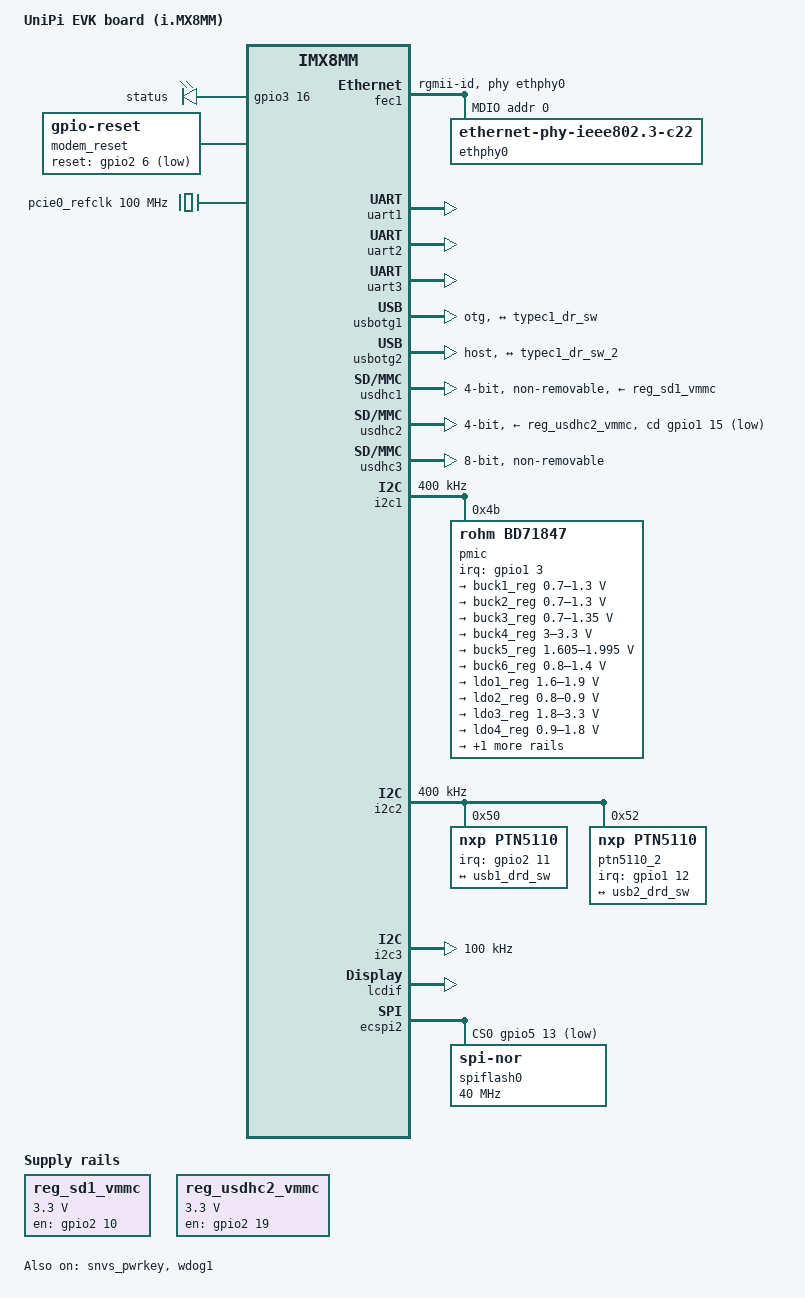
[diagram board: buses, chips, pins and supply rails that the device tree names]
// SPDX-License-Identifier: (GPL-2.0+ OR MIT)
/*
 * Copyright 2019 NXP
 */

/dts-v1/;

#include <dt-bindings/usb/pd.h>
#include "imx8mm.dtsi"

/ {
	model = "UniPi EVK board (i.MX8MM)";
	compatible = "fsl,imx8mm-evk", "fsl,imx8mm";

	reserved-memory {
		#address-cells = <2>;
		#size-cells = <2>;
		ranges;

		rpmsg_reserved: rpmsg@0xb8000000 {
			no-map;
			reg = <0 0xb8000000 0 0x400000>;
		};
	};

	chosen {
		stdout-path = &uart2;
	};

	leds {
		compatible = "gpio-leds";
		pinctrl-names = "default";
		pinctrl-0 = <&pinctrl_gpio_led>;

		status {
			label = "status";
			gpios = <&gpio3 16 GPIO_ACTIVE_HIGH>;
			default-state = "on";
		};
	};

	modem_reset: modem-reset {
		compatible = "gpio-reset";
		reset-gpios = <&gpio2 6 GPIO_ACTIVE_LOW>;
		reset-delay-us = <2000>;
		reset-post-delay-ms = <40>;
		#reset-cells = <0>;
	};

	pcie0_refclk: pcie0-refclk {
		compatible = "fixed-clock";
		#clock-cells = <0>;
		clock-frequency = <100000000>;
	};

	reg_sd1_vmmc: sd1_regulator {
		compatible = "regulator-fixed";
		regulator-name = "WLAN_EN";
		regulator-min-microvolt = <3300000>;
		regulator-max-microvolt = <3300000>;
		gpio = <&gpio2 10 GPIO_ACTIVE_HIGH>;
		off-on-delay-us = <20000>;
		startup-delay-us = <100>;
		enable-active-high;
	};

	reg_usdhc2_vmmc: regulator-usdhc2 {
		compatible = "regulator-fixed";
		pinctrl-names = "default";
		pinctrl-0 = <&pinctrl_reg_usdhc2_vmmc>;
		regulator-name = "VSD_3V3";
		regulator-min-microvolt = <3300000>;
		regulator-max-microvolt = <3300000>;
		gpio = <&gpio2 19 GPIO_ACTIVE_HIGH>;
		off-on-delay-us = <20000>;
		enable-active-high;
	};

};

&A53_0 {
	cpu-supply = <&buck2_reg>;
};

&fec1 {
	pinctrl-names = "default";
	pinctrl-0 = <&pinctrl_fec1>;
	phy-mode = "rgmii-id";
	phy-handle = <&ethphy0>;
	fsl,magic-packet;
	status = "okay";

	mdio {
		#address-cells = <1>;
		#size-cells = <0>;

		ethphy0: ethernet-phy@0 {
			compatible = "ethernet-phy-ieee802.3-c22";
			reg = <0>;
			at803x,eee-disabled;
			at803x,vddio-1p8v;
		};
	};
};

&pcie0{
	pinctrl-names = "default";
	pinctrl-0 = <&pinctrl_pcie0>;
	disable-gpio = <&gpio1 5 GPIO_ACTIVE_LOW>;
	reset-gpio = <&gpio4 21 GPIO_ACTIVE_LOW>;
	clocks = <&clk IMX8MM_CLK_PCIE1_ROOT>,
		 <&clk IMX8MM_CLK_PCIE1_AUX>,
		 <&clk IMX8MM_CLK_PCIE1_PHY>,
		 <&pcie0_refclk>;
	clock-names = "pcie", "pcie_aux", "pcie_phy", "pcie_bus";
	ext_osc = <1>;
	reserved-region = <&rpmsg_reserved>;
	status = "disabled";
};

&snvs_pwrkey {
	status = "okay";
};

&uart1 { /* BT */
	pinctrl-names = "default";
	pinctrl-0 = <&pinctrl_uart1>;
	assigned-clocks = <&clk IMX8MM_CLK_UART1>;
	assigned-clock-parents = <&clk IMX8MM_SYS_PLL1_80M>;
	fsl,uart-has-rtscts;
	resets = <&modem_reset>;
	status = "okay";
};

&uart2 { /* console */
	pinctrl-names = "default";
	pinctrl-0 = <&pinctrl_uart2>;
	status = "okay";
};

&uart3 {
	pinctrl-names = "default";
	pinctrl-0 = <&pinctrl_uart3>;
	assigned-clocks = <&clk IMX8MM_CLK_UART3>;
	assigned-clock-parents = <&clk IMX8MM_SYS_PLL1_80M>;
	fsl,uart-has-rtscts;
    linux,rs485-enabled-at-boot-time;
	status = "okay";
};

&usbotg1 {
	dr_mode = "otg";
	hnp-disable;
	srp-disable;
	adp-disable;
	usb-role-switch;
	picophy,pre-emp-curr-control = <3>;
	picophy,dc-vol-level-adjust = <7>;
	status = "okay";

	port {
		usb1_drd_sw: endpoint {
			remote-endpoint = <&typec1_dr_sw>;
		};
	};
};

&usbotg2 {
	dr_mode = "host";
	hnp-disable;
	srp-disable;
	adp-disable;
	usb-role-switch;
	picophy,pre-emp-curr-control = <3>;
	picophy,dc-vol-level-adjust = <7>;
	status = "okay";

	port {
		usb2_drd_sw: endpoint {
			remote-endpoint = <&typec1_dr_sw_2>;
		};
	};
};

&usdhc1 {
	pinctrl-names = "default", "state_100mhz", "state_200mhz";
	pinctrl-0 = <&pinctrl_usdhc1>, <&pinctrl_usdhc1_gpio>;
	pinctrl-1 = <&pinctrl_usdhc1_100mhz>, <&pinctrl_usdhc1_gpio>;
	pinctrl-2 = <&pinctrl_usdhc1_200mhz>, <&pinctrl_usdhc1_gpio>;
	bus-width = <4>;
	vmmc-supply = <&reg_sd1_vmmc>;
	pm-ignore-notify;
	keep-power-in-suspend;
	non-removable;
	status = "okay";
};

&usdhc2 {
	pinctrl-names = "default", "state_100mhz", "state_200mhz";
	pinctrl-0 = <&pinctrl_usdhc2>, <&pinctrl_usdhc2_gpio>;
	pinctrl-1 = <&pinctrl_usdhc2_100mhz>, <&pinctrl_usdhc2_gpio>;
	pinctrl-2 = <&pinctrl_usdhc2_200mhz>, <&pinctrl_usdhc2_gpio>;
	cd-gpios = <&gpio1 15 GPIO_ACTIVE_LOW>;
	bus-width = <4>;
	vmmc-supply = <&reg_usdhc2_vmmc>;
	status = "okay";
};

&usdhc3 {
	pinctrl-names = "default", "state_100mhz", "state_200mhz";
	pinctrl-0 = <&pinctrl_usdhc3>;
	pinctrl-1 = <&pinctrl_usdhc3_100mhz>;
	pinctrl-2 = <&pinctrl_usdhc3_200mhz>;
	bus-width = <8>;
	non-removable;
	status = "okay";
};

&wdog1 {
	pinctrl-names = "default";
	pinctrl-0 = <&pinctrl_wdog>;
	fsl,ext-reset-output;
	status = "okay";
};

/*
&flexspi {
	pinctrl-names = "default";
	pinctrl-0 = <&pinctrl_flexspi0>;
	status = "okay";

	flash0: mt25qu256aba@0 {
		reg = <0>;
		#address-cells = <1>;
		#size-cells = <1>;
		compatible = "jedec,spi-nor";
		spi-max-frequency = <80000000>;
		spi-tx-bus-width = <4>;
		spi-rx-bus-width = <4>;
	};
};
*/

&i2c1 {
	clock-frequency = <400000>;
	pinctrl-names = "default";
	pinctrl-0 = <&pinctrl_i2c1>;
	status = "okay";

	pmic@4b {
		compatible = "rohm,bd71847";
		reg = <0x4b>;
		pinctrl-0 = <&pinctrl_pmic>;
		interrupt-parent = <&gpio1>;
		interrupts = <3 GPIO_ACTIVE_LOW>;
		rohm,reset-snvs-powered;

		regulators {
			buck1_reg: BUCK1 {
				regulator-name = "BUCK1";
				regulator-min-microvolt = <700000>;
				regulator-max-microvolt = <1300000>;
				regulator-boot-on;
				regulator-always-on;
				regulator-ramp-delay = <1250>;
			};

			buck2_reg: BUCK2 {
				regulator-name = "BUCK2";
				regulator-min-microvolt = <700000>;
				regulator-max-microvolt = <1300000>;
				regulator-boot-on;
				regulator-always-on;
				regulator-ramp-delay = <1250>;
				rohm,dvs-run-voltage = <1000000>;
				rohm,dvs-idle-voltage = <900000>;
			};

			buck3_reg: BUCK3 {
				// BUCK5 in datasheet
				regulator-name = "BUCK3";
				regulator-min-microvolt = <700000>;
				regulator-max-microvolt = <1350000>;
				regulator-boot-on;
				regulator-always-on;
			};

			buck4_reg: BUCK4 {
				// BUCK6 in datasheet
				regulator-name = "BUCK4";
				regulator-min-microvolt = <3000000>;
				regulator-max-microvolt = <3300000>;
				regulator-boot-on;
				regulator-always-on;
			};

			buck5_reg: BUCK5 {
				// BUCK7 in datasheet
				regulator-name = "BUCK5";
				regulator-min-microvolt = <1605000>;
				regulator-max-microvolt = <1995000>;
				regulator-boot-on;
				regulator-always-on;
			};

			buck6_reg: BUCK6 {
				// BUCK8 in datasheet
				regulator-name = "BUCK6";
				regulator-min-microvolt = <800000>;
				regulator-max-microvolt = <1400000>;
				regulator-boot-on;
				regulator-always-on;
			};

			ldo1_reg: LDO1 {
				regulator-name = "LDO1";
				regulator-min-microvolt = <1600000>;
				regulator-max-microvolt = <1900000>;
				regulator-boot-on;
				regulator-always-on;
			};

			ldo2_reg: LDO2 {
				regulator-name = "LDO2";
				regulator-min-microvolt = <800000>;
				regulator-max-microvolt = <900000>;
				regulator-boot-on;
				regulator-always-on;
			};

			ldo3_reg: LDO3 {
				regulator-name = "LDO3";
				regulator-min-microvolt = <1800000>;
				regulator-max-microvolt = <3300000>;
				regulator-boot-on;
				regulator-always-on;
			};

			ldo4_reg: LDO4 {
				regulator-name = "LDO4";
				regulator-min-microvolt = <900000>;
				regulator-max-microvolt = <1800000>;
				regulator-boot-on;
				regulator-always-on;
			};

			ldo6_reg: LDO6 {
				regulator-name = "LDO6";
				regulator-min-microvolt = <900000>;
				regulator-max-microvolt = <1800000>;
				regulator-boot-on;
				regulator-always-on;
			};
		};
	};
};

&i2c2 {
	clock-frequency = <400000>;
	pinctrl-names = "default";
	pinctrl-0 = <&pinctrl_i2c2>;
	status = "okay";

	ptn5110: tcpc@50 {
		compatible = "nxp,ptn5110";
		pinctrl-names = "default";
		pinctrl-0 = <&pinctrl_typec1>;
		reg = <0x50>;
		interrupt-parent = <&gpio2>;
		interrupts = <11 8>;
		status = "okay";

		port {
			typec1_dr_sw: endpoint {
				remote-endpoint = <&usb1_drd_sw>;
			};
		};

		typec1_con: connector {
			compatible = "usb-c-connector";
			label = "USB-C";
			power-role = "dual";
			data-role = "dual";
			try-power-role = "sink";
			source-pdos = <PDO_FIXED(5000, 3000, PDO_FIXED_USB_COMM)>;
			sink-pdos = <PDO_FIXED(5000, 3000, PDO_FIXED_USB_COMM)
				     PDO_VAR(5000, 20000, 3000)>;
			op-sink-microwatt = <15000000>;
			self-powered;

			ports {
				#address-cells = <1>;
				#size-cells = <0>;

				port@1 {
					reg = <1>;
					/*typec_con_ss: endpoint {
						remote-endpoint = <&usb3_data_ss>;
					};*/
				};
			};
		};
	};

	ptn5110_2: tcpc@52 {
		compatible = "nxp,ptn5110";
		pinctrl-names = "default";
		pinctrl-0 = <&pinctrl_typec1_2>;
		reg = <0x52>;
		interrupt-parent = <&gpio1>;
		interrupts = <12 8>;
		status = "okay";

		port {
			typec1_dr_sw_2: endpoint {
				remote-endpoint = <&usb2_drd_sw>;
			};
		};

		typec1_con_2: connector {
			compatible = "usb-c-connector";
			label = "USB-C";
			power-role = "dual";
			data-role = "dual";
			try-power-role = "sink";
			source-pdos = <PDO_FIXED(5000, 3000, PDO_FIXED_USB_COMM)>;
			sink-pdos = <PDO_FIXED(5000, 3000, PDO_FIXED_USB_COMM)
				     PDO_VAR(5000, 20000, 3000)>;
			op-sink-microwatt = <15000000>;
			self-powered;

			ports {
				#address-cells = <1>;
				#size-cells = <0>;

				port@1 {
					reg = <1>;
					/*typec_con_ss: endpoint {
						remote-endpoint = <&usb3_data_ss>;
					};*/
				};
			};
		};
	};

};

&i2c3 {
	clock-frequency = <100000>;
	pinctrl-names = "default";
	pinctrl-0 = <&pinctrl_i2c3>;
	status = "okay";

};

&iomuxc {
	pinctrl-names = "default";

	pinctrl_csi_pwn: csi_pwn_grp {
		fsl,pins = <
			MX8MM_IOMUXC_GPIO1_IO07_GPIO1_IO7		0x19
		>;
	};

	pinctrl_csi_rst: csi_rst_grp {
		fsl,pins = <
			MX8MM_IOMUXC_GPIO1_IO06_GPIO1_IO6		0x19
			MX8MM_IOMUXC_GPIO1_IO14_CCMSRCGPCMIX_CLKO1	0x59
		>;
	};

	pinctrl_fec1: fec1grp {
		fsl,pins = <
			MX8MM_IOMUXC_ENET_MDC_ENET1_MDC			0x3
			MX8MM_IOMUXC_ENET_MDIO_ENET1_MDIO		0x3
			MX8MM_IOMUXC_ENET_TD3_ENET1_RGMII_TD3		0x1f
			MX8MM_IOMUXC_ENET_TD2_ENET1_RGMII_TD2		0x1f
			MX8MM_IOMUXC_ENET_TD1_ENET1_RGMII_TD1		0x1f
			MX8MM_IOMUXC_ENET_TD0_ENET1_RGMII_TD0		0x1f
			MX8MM_IOMUXC_ENET_RD3_ENET1_RGMII_RD3		0x91
			MX8MM_IOMUXC_ENET_RD2_ENET1_RGMII_RD2		0x91
			MX8MM_IOMUXC_ENET_RD1_ENET1_RGMII_RD1		0x91
			MX8MM_IOMUXC_ENET_RD0_ENET1_RGMII_RD0		0x91
			MX8MM_IOMUXC_ENET_TXC_ENET1_RGMII_TXC		0x1f
			MX8MM_IOMUXC_ENET_RXC_ENET1_RGMII_RXC		0x91
			MX8MM_IOMUXC_ENET_RX_CTL_ENET1_RGMII_RX_CTL	0x91
			MX8MM_IOMUXC_ENET_TX_CTL_ENET1_RGMII_TX_CTL	0x1f
			MX8MM_IOMUXC_SAI2_RXC_GPIO4_IO22		0x19
		>;
	};

/*	pinctrl_flexspi0: flexspi0grp {
		fsl,pins = <
			MX8MM_IOMUXC_NAND_ALE_QSPI_A_SCLK               0x1c2
			MX8MM_IOMUXC_NAND_CE0_B_QSPI_A_SS0_B            0x82
			MX8MM_IOMUXC_NAND_DATA00_QSPI_A_DATA0           0x82
			MX8MM_IOMUXC_NAND_DATA01_QSPI_A_DATA1           0x82
			MX8MM_IOMUXC_NAND_DATA02_QSPI_A_DATA2           0x82
			MX8MM_IOMUXC_NAND_DATA03_QSPI_A_DATA3           0x82
		>;
	};
*/
	pinctrl_gpio_led: gpioledgrp {
		fsl,pins = <
			MX8MM_IOMUXC_NAND_READY_B_GPIO3_IO16	0x19
		>;
	};

	pinctrl_gpio_wlf: gpiowlfgrp {
		fsl,pins = <
			MX8MM_IOMUXC_I2C4_SDA_GPIO5_IO21	0xd6
		>;
	};

	pinctrl_i2c1: i2c1grp {
		fsl,pins = <
			MX8MM_IOMUXC_I2C1_SCL_I2C1_SCL			0x400001c3
			MX8MM_IOMUXC_I2C1_SDA_I2C1_SDA			0x400001c3
		>;
	};

	pinctrl_i2c2: i2c2grp {
		fsl,pins = <
			MX8MM_IOMUXC_I2C2_SCL_I2C2_SCL			0x400001c3
			MX8MM_IOMUXC_I2C2_SDA_I2C2_SDA			0x400001c3
		>;
	};

	pinctrl_i2c3: i2c3grp {
		fsl,pins = <
			MX8MM_IOMUXC_I2C3_SCL_I2C3_SCL			0x400001c3
			MX8MM_IOMUXC_I2C3_SDA_I2C3_SDA			0x400001c3
		>;
	};

	pinctrl_mipi_dsi_en: mipi_dsi_en {
		fsl,pins = <
			MX8MM_IOMUXC_GPIO1_IO08_GPIO1_IO8		0x16
		>;
	};

	pinctrl_i2c2_synaptics_dsx_io: synaptics_dsx_iogrp {
		fsl,pins = <
			MX8MM_IOMUXC_GPIO1_IO09_GPIO1_IO9               0x19    /* Touch int */
		>;
	};

	pinctrl_pcie0: pcie0grp {
		fsl,pins = <
			MX8MM_IOMUXC_I2C4_SCL_PCIE1_CLKREQ_B	0x61 /* open drain, pull up */
			MX8MM_IOMUXC_GPIO1_IO05_GPIO1_IO5	0x41
			MX8MM_IOMUXC_SAI2_RXFS_GPIO4_IO21	0x41
		>;
	};

	pinctrl_pmic: pmicirq {
		fsl,pins = <
			MX8MM_IOMUXC_GPIO1_IO03_GPIO1_IO3		0x41
		>;
	};

	pinctrl_reg_usdhc2_vmmc: regusdhc2vmmc {
		fsl,pins = <
			MX8MM_IOMUXC_SD2_RESET_B_GPIO2_IO19	0x41
		>;
	};

/*	pinctrl_sai2: sai2grp {
		fsl,pins = <
			MX8MM_IOMUXC_SAI2_TXC_SAI2_TX_BCLK      0xd6
			MX8MM_IOMUXC_SAI2_TXFS_SAI2_TX_SYNC     0xd6
			MX8MM_IOMUXC_SAI2_TXD0_SAI2_TX_DATA0    0xd6
			MX8MM_IOMUXC_SAI2_RXD0_SAI2_RX_DATA0    0xd6
		>;
	};

	pinctrl_sai3: sai3grp {
		fsl,pins = <
			MX8MM_IOMUXC_SAI3_TXFS_SAI3_TX_SYNC     0xd6
			MX8MM_IOMUXC_SAI3_TXC_SAI3_TX_BCLK      0xd6
			MX8MM_IOMUXC_SAI3_MCLK_SAI3_MCLK        0xd6
			MX8MM_IOMUXC_SAI3_TXD_SAI3_TX_DATA0     0xd6
		>;
	};

	pinctrl_sai1: sai1grp {
		fsl,pins = <
			MX8MM_IOMUXC_SAI1_MCLK_SAI1_MCLK	0xd6
			MX8MM_IOMUXC_SAI1_TXFS_SAI1_TX_SYNC	0xd6
			MX8MM_IOMUXC_SAI1_RXD7_SAI1_TX_SYNC	0xd6
			MX8MM_IOMUXC_SAI1_TXC_SAI1_TX_BCLK	0xd6
			MX8MM_IOMUXC_SAI1_TXD0_SAI1_TX_DATA0	0xd6
			MX8MM_IOMUXC_SAI1_TXD1_SAI1_TX_DATA1	0xd6
			MX8MM_IOMUXC_SAI1_TXD2_SAI1_TX_DATA2	0xd6
			MX8MM_IOMUXC_SAI1_TXD3_SAI1_TX_DATA3	0xd6
			MX8MM_IOMUXC_SAI1_TXD4_SAI1_TX_DATA4	0xd6
			MX8MM_IOMUXC_SAI1_TXD5_SAI1_TX_DATA5	0xd6
			MX8MM_IOMUXC_SAI1_TXD6_SAI1_TX_DATA6	0xd6
			MX8MM_IOMUXC_SAI1_TXD7_SAI1_TX_DATA7	0xd6
		>;
	};

	pinctrl_sai1_dsd: sai1grp_dsd {
		fsl,pins = <
			MX8MM_IOMUXC_SAI1_MCLK_SAI1_MCLK	0xd6
			MX8MM_IOMUXC_SAI1_TXFS_SAI1_TX_SYNC	0xd6
			MX8MM_IOMUXC_SAI1_RXD7_SAI1_TX_DATA4	0xd6
			MX8MM_IOMUXC_SAI1_TXC_SAI1_TX_BCLK	0xd6
			MX8MM_IOMUXC_SAI1_TXD0_SAI1_TX_DATA0	0xd6
			MX8MM_IOMUXC_SAI1_TXD1_SAI1_TX_DATA1	0xd6
			MX8MM_IOMUXC_SAI1_TXD2_SAI1_TX_DATA2	0xd6
			MX8MM_IOMUXC_SAI1_TXD3_SAI1_TX_DATA3	0xd6
			MX8MM_IOMUXC_SAI1_TXD4_SAI1_TX_DATA4	0xd6
			MX8MM_IOMUXC_SAI1_TXD5_SAI1_TX_DATA5	0xd6
			MX8MM_IOMUXC_SAI1_TXD6_SAI1_TX_DATA6	0xd6
			MX8MM_IOMUXC_SAI1_TXD7_SAI1_TX_DATA7	0xd6
		>;
	};

	pinctrl_sai5: sai5grp {
		fsl,pins = <
			MX8MM_IOMUXC_SAI5_MCLK_SAI5_MCLK	0xd6
			MX8MM_IOMUXC_SAI5_RXC_SAI5_RX_BCLK	0xd6
			MX8MM_IOMUXC_SAI5_RXFS_SAI5_RX_SYNC	0xd6
			MX8MM_IOMUXC_SAI5_RXD0_SAI5_RX_DATA0	0xd6
			MX8MM_IOMUXC_SAI5_RXD1_SAI5_RX_DATA1    0xd6
			MX8MM_IOMUXC_SAI5_RXD2_SAI5_RX_DATA2    0xd6
			MX8MM_IOMUXC_SAI5_RXD3_SAI5_RX_DATA3    0xd6
		>;
	};

	pinctrl_pdm: pdmgrp {
		fsl,pins = <
			MX8MM_IOMUXC_SAI5_MCLK_SAI5_MCLK	0xd6
			MX8MM_IOMUXC_SAI5_RXC_PDM_CLK		0xd6
			MX8MM_IOMUXC_SAI5_RXFS_SAI5_RX_SYNC	0xd6
			MX8MM_IOMUXC_SAI5_RXD0_PDM_DATA0	0xd6
			MX8MM_IOMUXC_SAI5_RXD1_PDM_DATA1	0xd6
			MX8MM_IOMUXC_SAI5_RXD2_PDM_DATA2	0xd6
			MX8MM_IOMUXC_SAI5_RXD3_PDM_DATA3	0xd6
		>;
	};

	pinctrl_spdif1: spdif1grp {
		fsl,pins = <
			MX8MM_IOMUXC_SPDIF_TX_SPDIF1_OUT	0xd6
			MX8MM_IOMUXC_SPDIF_RX_SPDIF1_IN		0xd6
		>;
	};
*/
	pinctrl_typec1: typec1grp {
		fsl,pins = <
			MX8MM_IOMUXC_SD1_STROBE_GPIO2_IO11	0x159
		>;
	};

	pinctrl_typec1_2: typec1grp_2 {
		fsl,pins = <
			MX8MM_IOMUXC_SD2_CD_B_GPIO2_IO12	0x159
		>;
	};

	pinctrl_uart1: uart1grp {
		fsl,pins = <
			MX8MM_IOMUXC_UART1_RXD_UART1_DCE_RX	0x140
			MX8MM_IOMUXC_UART1_TXD_UART1_DCE_TX	0x140
			MX8MM_IOMUXC_UART3_RXD_UART1_DCE_CTS_B	0x140
			MX8MM_IOMUXC_UART3_TXD_UART1_DCE_RTS_B	0x140
			MX8MM_IOMUXC_SD1_DATA4_GPIO2_IO6	0x19
		>;
	};

	pinctrl_uart2: uart2grp {
		fsl,pins = <
			MX8MM_IOMUXC_UART2_RXD_UART2_DCE_RX	0x140
			MX8MM_IOMUXC_UART2_TXD_UART2_DCE_TX	0x140
		>;
	};

	pinctrl_uart3: uart3grp {
		fsl,pins = <
			MX8MM_IOMUXC_ECSPI1_SCLK_UART3_DCE_RX		0x140
			MX8MM_IOMUXC_ECSPI1_MOSI_UART3_DCE_TX		0x140
			/*MX8MM_IOMUXC_ECSPI1_SS0_UART3_DCE_RTS_B		0x140*/
			MX8MM_IOMUXC_ECSPI1_MISO_UART3_DCE_CTS_B	0x140
		>;
	};

	pinctrl_usdhc1_gpio: usdhc1grpgpio {
		fsl,pins = <
			MX8MM_IOMUXC_SD1_RESET_B_GPIO2_IO10	0x41
		>;
	};

	pinctrl_usdhc1: usdhc1grp {
		fsl,pins = <
			MX8MM_IOMUXC_SD1_CLK_USDHC1_CLK		0x190
			MX8MM_IOMUXC_SD1_CMD_USDHC1_CMD		0x1d0
			MX8MM_IOMUXC_SD1_DATA0_USDHC1_DATA0	0x1d0
			MX8MM_IOMUXC_SD1_DATA1_USDHC1_DATA1	0x1d0
			MX8MM_IOMUXC_SD1_DATA2_USDHC1_DATA2	0x1d0
			MX8MM_IOMUXC_SD1_DATA3_USDHC1_DATA3	0x1d0
		>;
	};

	pinctrl_usdhc1_100mhz: usdhc1grp100mhz {
		fsl,pins = <
			MX8MM_IOMUXC_SD1_CLK_USDHC1_CLK		0x194
			MX8MM_IOMUXC_SD1_CMD_USDHC1_CMD		0x1d4
			MX8MM_IOMUXC_SD1_DATA0_USDHC1_DATA0	0x1d4
			MX8MM_IOMUXC_SD1_DATA1_USDHC1_DATA1	0x1d4
			MX8MM_IOMUXC_SD1_DATA2_USDHC1_DATA2	0x1d4
			MX8MM_IOMUXC_SD1_DATA3_USDHC1_DATA3	0x1d4
		>;
	};

	pinctrl_usdhc1_200mhz: usdhc1grp200mhz {
		fsl,pins = <
			MX8MM_IOMUXC_SD1_CLK_USDHC1_CLK		0x196
			MX8MM_IOMUXC_SD1_CMD_USDHC1_CMD		0x1d6
			MX8MM_IOMUXC_SD1_DATA0_USDHC1_DATA0	0x1d6
			MX8MM_IOMUXC_SD1_DATA1_USDHC1_DATA1	0x1d6
			MX8MM_IOMUXC_SD1_DATA2_USDHC1_DATA2	0x1d6
			MX8MM_IOMUXC_SD1_DATA3_USDHC1_DATA3	0x1d6
		>;
	};

	pinctrl_usdhc2_gpio: usdhc2grpgpio {
		fsl,pins = <
			MX8MM_IOMUXC_GPIO1_IO15_GPIO1_IO15	0x1c4
		>;
	};

	pinctrl_usdhc2: usdhc2grp {
		fsl,pins = <
			MX8MM_IOMUXC_SD2_CLK_USDHC2_CLK		0x190
			MX8MM_IOMUXC_SD2_CMD_USDHC2_CMD		0x1d0
			MX8MM_IOMUXC_SD2_DATA0_USDHC2_DATA0	0x1d0
			MX8MM_IOMUXC_SD2_DATA1_USDHC2_DATA1	0x1d0
			MX8MM_IOMUXC_SD2_DATA2_USDHC2_DATA2	0x1d0
			MX8MM_IOMUXC_SD2_DATA3_USDHC2_DATA3	0x1d0
			MX8MM_IOMUXC_GPIO1_IO04_USDHC2_VSELECT	0x1d0
		>;
	};

	pinctrl_usdhc2_100mhz: usdhc2grp100mhz {
		fsl,pins = <
			MX8MM_IOMUXC_SD2_CLK_USDHC2_CLK		0x194
			MX8MM_IOMUXC_SD2_CMD_USDHC2_CMD		0x1d4
			MX8MM_IOMUXC_SD2_DATA0_USDHC2_DATA0	0x1d4
			MX8MM_IOMUXC_SD2_DATA1_USDHC2_DATA1	0x1d4
			MX8MM_IOMUXC_SD2_DATA2_USDHC2_DATA2	0x1d4
			MX8MM_IOMUXC_SD2_DATA3_USDHC2_DATA3	0x1d4
			MX8MM_IOMUXC_GPIO1_IO04_USDHC2_VSELECT	0x1d0
		>;
	};

	pinctrl_usdhc2_200mhz: usdhc2grp200mhz {
		fsl,pins = <
			MX8MM_IOMUXC_SD2_CLK_USDHC2_CLK		0x196
			MX8MM_IOMUXC_SD2_CMD_USDHC2_CMD		0x1d6
			MX8MM_IOMUXC_SD2_DATA0_USDHC2_DATA0	0x1d6
			MX8MM_IOMUXC_SD2_DATA1_USDHC2_DATA1	0x1d6
			MX8MM_IOMUXC_SD2_DATA2_USDHC2_DATA2	0x1d6
			MX8MM_IOMUXC_SD2_DATA3_USDHC2_DATA3	0x1d6
			MX8MM_IOMUXC_GPIO1_IO04_USDHC2_VSELECT	0x1d0
		>;
	};

	pinctrl_usdhc3: usdhc3grp {
		fsl,pins = <
			MX8MM_IOMUXC_NAND_WE_B_USDHC3_CLK		0x190
			MX8MM_IOMUXC_NAND_WP_B_USDHC3_CMD		0x1d0
			MX8MM_IOMUXC_NAND_DATA04_USDHC3_DATA0		0x1d0
			MX8MM_IOMUXC_NAND_DATA05_USDHC3_DATA1		0x1d0
			MX8MM_IOMUXC_NAND_DATA06_USDHC3_DATA2		0x1d0
			MX8MM_IOMUXC_NAND_DATA07_USDHC3_DATA3		0x1d0
			MX8MM_IOMUXC_NAND_RE_B_USDHC3_DATA4		0x1d0
			MX8MM_IOMUXC_NAND_CE2_B_USDHC3_DATA5		0x1d0
			MX8MM_IOMUXC_NAND_CE3_B_USDHC3_DATA6		0x1d0
			MX8MM_IOMUXC_NAND_CLE_USDHC3_DATA7		0x1d0
			MX8MM_IOMUXC_NAND_CE1_B_USDHC3_STROBE 		0x190
		>;
	};

	pinctrl_usdhc3_100mhz: usdhc3grp100mhz {
		fsl,pins = <
			MX8MM_IOMUXC_NAND_WE_B_USDHC3_CLK		0x194
			MX8MM_IOMUXC_NAND_WP_B_USDHC3_CMD		0x1d4
			MX8MM_IOMUXC_NAND_DATA04_USDHC3_DATA0		0x1d4
			MX8MM_IOMUXC_NAND_DATA05_USDHC3_DATA1		0x1d4
			MX8MM_IOMUXC_NAND_DATA06_USDHC3_DATA2		0x1d4
			MX8MM_IOMUXC_NAND_DATA07_USDHC3_DATA3		0x1d4
			MX8MM_IOMUXC_NAND_RE_B_USDHC3_DATA4		0x1d4
			MX8MM_IOMUXC_NAND_CE2_B_USDHC3_DATA5		0x1d4
			MX8MM_IOMUXC_NAND_CE3_B_USDHC3_DATA6		0x1d4
			MX8MM_IOMUXC_NAND_CLE_USDHC3_DATA7		0x1d4
			MX8MM_IOMUXC_NAND_CE1_B_USDHC3_STROBE 		0x194
		>;
	};

	pinctrl_usdhc3_200mhz: usdhc3grp200mhz {
		fsl,pins = <
			MX8MM_IOMUXC_NAND_WE_B_USDHC3_CLK		0x196
			MX8MM_IOMUXC_NAND_WP_B_USDHC3_CMD		0x1d6
			MX8MM_IOMUXC_NAND_DATA04_USDHC3_DATA0		0x1d6
			MX8MM_IOMUXC_NAND_DATA05_USDHC3_DATA1		0x1d6
			MX8MM_IOMUXC_NAND_DATA06_USDHC3_DATA2		0x1d6
			MX8MM_IOMUXC_NAND_DATA07_USDHC3_DATA3		0x1d6
			MX8MM_IOMUXC_NAND_RE_B_USDHC3_DATA4		0x1d6
			MX8MM_IOMUXC_NAND_CE2_B_USDHC3_DATA5		0x1d6
			MX8MM_IOMUXC_NAND_CE3_B_USDHC3_DATA6		0x1d6
			MX8MM_IOMUXC_NAND_CLE_USDHC3_DATA7		0x1d6
			MX8MM_IOMUXC_NAND_CE1_B_USDHC3_STROBE 		0x196
		>;
	};

	pinctrl_wdog: wdoggrp {
		fsl,pins = <
			MX8MM_IOMUXC_GPIO1_IO02_WDOG1_WDOG_B	0xc6
		>;
	};

	/*
    pinctrl_ecspi22: ecspi22grp {
			fsl,pins = <
				MX8MM_IOMUXC_ECSPI2_SCLK_ECSPI2_SCLK		0x82
				MX8MM_IOMUXC_ECSPI2_MOSI_ECSPI2_MOSI		0x82
				MX8MM_IOMUXC_ECSPI2_MISO_ECSPI2_MISO		0x82
				MX8MM_IOMUXC_ECSPI2_SS0_ECSPI2_SS0			0x82
			>;
	};
    */

	pinctrl_ecspi2: ecspi2grp {
			fsl,pins = <
                /*MX8MM_IOMUXC_ECSPI2_SS0_GPIO5_IO13          0x06*/
				MX8MM_IOMUXC_ECSPI2_SCLK_ECSPI2_SCLK		0x82
				MX8MM_IOMUXC_ECSPI2_MOSI_ECSPI2_MOSI		0x82
				MX8MM_IOMUXC_ECSPI2_MISO_ECSPI2_MISO		0x82
				
			/*	MX8MM_IOMUXC_SAI5_RXD0_GPIO3_IO21			0x06*/
            
            /*    MX8MM_IOMUXC_SAI5_RXC_GPIO3_IO20			0x06*/
            
			/*	MX8MM_IOMUXC_SAI5_RXC_GPIO3_IO20			0x19
				MX8MM_IOMUXC_SAI5_RXD1_GPIO3_IO22			0x19 */
			/*	MX8MM_IOMUXC_ECSPI2_SS0_ECSPI2_SS0			0x82 */
			>;
	};

	pinctrl_ecspi2_cs: ecspi2cs {
			fsl,pins = <
			/*	MX8MM_IOMUXC_ECSPI2_SS0_ECSPI2_SS0			0x06 */
			/*	MX8MM_IOMUXC_ECSPI1_SS0_GPIO5_IO9			0x16 */
				MX8MM_IOMUXC_ECSPI2_SS0_GPIO5_IO13			0x16
				MX8MM_IOMUXC_SAI5_RXD0_GPIO3_IO21			0x16
				MX8MM_IOMUXC_SAI5_RXC_GPIO3_IO20			0x19
				MX8MM_IOMUXC_SAI5_RXD1_GPIO3_IO22			0x19
			>;
	};
};

&lcdif {
	status = "okay";
};

&ecspi2 {
	fsl,spi-num-chipselects = <0>;
	pinctrl-names = "default";
	/*pinctrl-0 = <&pinctrl_ecspi2>;*/
	pinctrl-0 = <&pinctrl_ecspi2 &pinctrl_ecspi2_cs>;
	cs-gpios = <&gpio5 13 1>,  /*<&gpio5 9 1>, */ <&gpio3 21 1>;
	/*cs-gpios = <0 &gpio3 21 1>;*/

	/*assigned-clocks = <&clk IMX8MM_CLK_ECSPI2>;
	assigned-clock-parents = <&clk IMX8MM_SYS_PLL1_80M>;*/
	status = "okay";

    spiflash0: spiflash@0 {
        compatible = "jedec,spi-nor";
        //compatible = "sst25vf016b";
        reg = <0>;
        status = "okay";
        spi-max-frequency = <40000000>;
    };

/*    spiflash1: spiflash@1 {
        compatible = "jedec,spi-nor";
        //compatible = "sst25vf016b";
        reg = <1>;
        status = "okay";
        spi-max-frequency = <4000000>;
    };*/

/*    unipispi0: unipispi@0 {
        compatible = "unipispi";
        reg = <0>;
        status = "disabled";
        spi-max-frequency = <12000000>;
        interrupt-parent = <&gpio3>;
        interrupts = <20 IRQ_TYPE_LEVEL_HIGH>;   // gpio3.20 
        neuron-board-index = <0>;
    };*/
/*    unipispi1: unipispi@1 {
        compatible = "unipispi";
        reg = <1>;
        status = "disabled";
        spi-max-frequency = <12000000>;
        interrupt-parent = <&gpio3>;
        interrupts = <22 IRQ_TYPE_LEVEL_HIGH>;   // gpio3.22
        neuron-board-index = <1>;
    };*/
};
